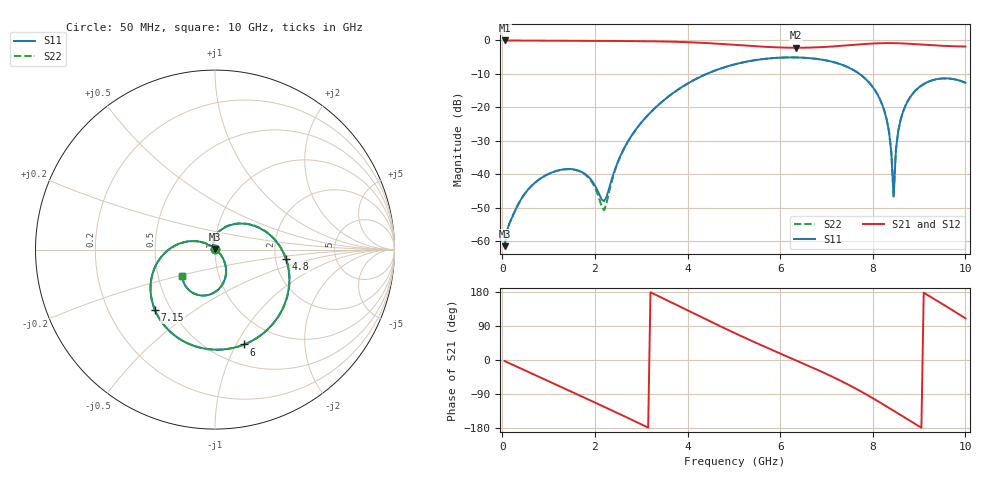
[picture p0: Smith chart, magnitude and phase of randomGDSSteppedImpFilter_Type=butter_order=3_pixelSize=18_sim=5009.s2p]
! freq	dB(S11)	phase(S11)	dB(S12)	phase(S12)
!  dB(S21)	phase(S21)	dB(S22)	phase(S22)
!S-par simulation data
#  GHz  S  DB  R 50
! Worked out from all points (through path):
!   200 points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, 50 MHz to 10 GHz, reference 50 ohm
!   highest |S21| = 0.00 dB at 50 MHz (marker M1); lowest = -2.2 dB at 6.35 GHz (marker M2)
!   group delay of S21, straight-line fit = 165 ps
!   lowest |S11| = -61.5 dB at 50 MHz (marker M3), VSWR 1.00, Z = 50 + j0.0791 ohm
!   |S11| at or under -10 dB: start of sweep to 4.413 GHz; 7.713 GHz to end of sweep
!   |S22| runs from -61.5 to -5.1 dB; largest |S21 - S12| = 0
!   S11 on the Smith chart (normalised r, x): 50 MHz: 1.00, +0.00; 4.8 GHz: 2.28, -0.28; 6 GHz: 0.71, -1.08; 7.15 GHz: 0.41, -0.36; 10 GHz: 0.67, -0.20
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0.05  -61.49 69.8  -0.00 -2.8  -0.00 -2.8  -61.49 69.8
0.25  -51.68 65.5  -0.03 -14.0  -0.03 -14.0  -51.67 65.2
0.65  -43.22 55.0  -0.05 -36.4  -0.05 -36.4  -43.22 54.0
1.75  -39.57 6.4  -0.11 -98.1  -0.11 -98.1  -39.73 2.5
2.2  -48.03 58.0  -0.14 -123.6  -0.14 -123.6  -50.73 59.4
2.65  -31.73 109.4  -0.18 -149.3  -0.18 -149.3  -31.80 112.5
3.4  -18.90 73.1  -0.29 166.9  -0.29 166.9  -18.91 74.1
4.15  -11.75 30.3  -0.60 122.2  -0.60 122.2  -11.75 30.8
4.8  -8.00 -7.4  -1.11 83.7  -1.11 83.7  -8.00 -7.1
5.05  -7.03 -21.5  -1.35 69.3  -1.35 69.3  -7.03 -21.3
6  -5.15 -72.9  -2.10 17.2  -2.10 17.2  -5.15 -72.7
6.35  -5.08 -91.2  -2.18 -1.4  -2.18 -1.4  -5.08 -91.1
6.7  -5.37 -109.7  -2.11 -20.1  -2.11 -20.1  -5.37 -109.7
7.15  -6.47 -134.8  -1.78 -45.5  -1.78 -45.5  -6.47 -134.7
7.95  -13.06 174.0  -0.96 -97.2  -0.96 -97.2  -13.06 174.0
8.35  -27.24 141.1  -0.80 -126.4  -0.80 -126.4  -27.22 141.1
8.45  -46.72 35.1  -0.81 -133.9  -0.81 -133.9  -46.69 36.2
8.5  -32.61 -33.4  -0.83 -137.6  -0.83 -137.6  -32.64 -33.3
8.55  -27.05 -42.1  -0.85 -141.4  -0.85 -141.4  -27.07 -42.1
8.8  -17.10 -63.7  -1.00 -160.1  -1.00 -160.1  -17.10 -63.7
9.35  -11.66 -101.8  -1.49 159.2  -1.49 159.2  -11.67 -101.9
10  -12.63 -141.5  -1.83 109.8  -1.83 109.8  -12.66 -141.7
